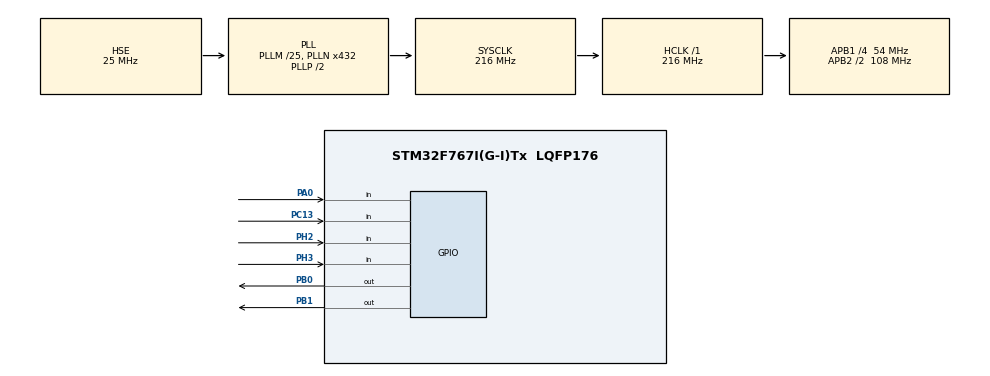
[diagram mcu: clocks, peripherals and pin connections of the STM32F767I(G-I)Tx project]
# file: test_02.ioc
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CORTEX_M7.default_mode_Activation=1
Mcu.Family=STM32F7
Mcu.Name=STM32F767I(G-I)Tx
Mcu.Package=LQFP176
NVIC.PriorityGroup=NVIC_PRIORITYGROUP_4
PA0/WKUP.GPIO_PuPd=GPIO_PULLDOWN
PA0/WKUP.Signal=GPIO_Input
PB0.GPIO_PuPd=GPIO_PULLUP
PB0.GPIO_Speed=GPIO_SPEED_FREQ_HIGH
PB0.PinState=GPIO_PIN_SET
PB0.Signal=GPIO_Output
PB1.GPIO_ModeDefaultOutputPP=GPIO_MODE_OUTPUT_PP
PB1.GPIO_PuPd=GPIO_PULLUP
PB1.GPIO_Speed=GPIO_SPEED_FREQ_HIGH
PB1.PinState=GPIO_PIN_SET
PB1.Signal=GPIO_Output
PC13.GPIO_PuPd=GPIO_PULLUP
PC13.Signal=GPIO_Input
PH0/OSC_IN.Mode=HSE-External-Oscillator
PH0/OSC_IN.Signal=RCC_OSC_IN
PH1/OSC_OUT.Mode=HSE-External-Oscillator
PH1/OSC_OUT.Signal=RCC_OSC_OUT
PH2.GPIO_PuPd=GPIO_PULLUP
PH2.Signal=GPIO_Input
PH3.GPIO_PuPd=GPIO_PULLUP
PH3.Signal=GPIO_Input
ProjectManager.HeapSize=0x200
ProjectManager.StackSize=0x400
ProjectManager.TargetToolchain=MDK-ARM V5.32
RCC.AHBFreq_Value=216000000
RCC.APB1CLKDivider=RCC_HCLK_DIV4
RCC.APB1Freq_Value=54000000
RCC.APB1TimFreq_Value=108000000
RCC.APB2CLKDivider=RCC_HCLK_DIV2
RCC.APB2Freq_Value=108000000
RCC.APB2TimFreq_Value=216000000
RCC.CortexFreq_Value=216000000
RCC.HCLKFreq_Value=216000000
RCC.HSE_VALUE=25000000
RCC.HSI_VALUE=16000000
RCC.LSE_VALUE=32768
RCC.PLLM=25
RCC.PLLN=432
RCC.PLLSourceVirtual=RCC_PLLSOURCE_HSE
RCC.SYSCLKFreq_VALUE=216000000
RCC.SYSCLKSource=RCC_SYSCLKSOURCE_PLLCLK
RCC.USBFreq_Value=216000000
RCC.VCOOutputFreq_Value=432000000
board=custom

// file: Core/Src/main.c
/* USER CODE BEGIN Header */
/**
  ******************************************************************************
  * @file           : main.c
  * @brief          : Main program body
  ******************************************************************************
  * @attention
  *
  * Copyright (c) 2022 STMicroelectronics.
  * All rights reserved.
  *
  * This software is licensed under terms that can be found in the LICENSE file
  * in the root directory of this software component.
  * If no LICENSE file comes with this software, it is provided AS-IS.
  *
  ******************************************************************************
  */
/* USER CODE END Header */
#include "main.h"
#include "gpio.h"

/* USER CODE BEGIN Includes */
#include "sys.h"
#include "delay.h"
#include "key.h"
#include "led.h"
/* USER CODE END Includes */

void SystemClock_Config(void);
static void MPU_Config(void);

int main(void)
{
  /* USER CODE BEGIN 1 */
	u8 key;
	u8 led0sta=1, led1sta=1; 		//LED0,LED1的当前状态
  /* USER CODE END 1 */

  /* MPU Configuration--------------------------------------------------------*/
  MPU_Config();

  /* MCU Configuration--------------------------------------------------------*/

  /* Reset of all peripherals, Initializes the Flash interface and the Systick. */
  HAL_Init();

  /* Configure the system clock */
  SystemClock_Config();

  /* Initialize all configured peripherals */
  MX_GPIO_Init();
  /* USER CODE BEGIN 2 */
	LED0(!led0sta);
  /* USER CODE END 2 */

  /* Infinite loop */
  /* USER CODE BEGIN WHILE */
  while (1)
  {
	  key=KEY_Scan(0);	//得到按键值
	  if(key)
		{
			switch(key)
			{
				case WKUP_PRES:	//控制LED0,LED1互斥点亮
					led1sta=!led1sta;
					led0sta=!led1sta;
					break;
				case KEY2_PRES:	//控制LED0翻转
					led0sta=!led0sta;
					break;
				case KEY1_PRES:	//控制LED1翻转
					led1sta=!led1sta;
					break;
				case KEY0_PRES:	//同时控制LED0,LED1翻转
					led0sta=!led0sta;
					led1sta=!led1sta;
					break;
			}
			LED0(led0sta);		//控制LED0状态
			LED1(led1sta);		//控制LED1状态
		}else delay_ms(10);
    /* USER CODE END WHILE */

  }
}

void SystemClock_Config(void)
{
  RCC_OscInitTypeDef RCC_OscInitStruct = {0};
  RCC_ClkInitTypeDef RCC_ClkInitStruct = {0};

  /** Configure the main internal regulator output voltage
  */
  __HAL_RCC_PWR_CLK_ENABLE();
  __HAL_PWR_VOLTAGESCALING_CONFIG(PWR_REGULATOR_VOLTAGE_SCALE1);

  /** Initializes the RCC Oscillators according to the specified parameters
  * in the RCC_OscInitTypeDef structure.
  */
  RCC_OscInitStruct.OscillatorType = RCC_OSCILLATORTYPE_HSE;
  RCC_OscInitStruct.HSEState = RCC_HSE_ON;
  RCC_OscInitStruct.PLL.PLLState = RCC_PLL_ON;
  RCC_OscInitStruct.PLL.PLLSource = RCC_PLLSOURCE_HSE;
  RCC_OscInitStruct.PLL.PLLM = 25;
  RCC_OscInitStruct.PLL.PLLN = 432;
  RCC_OscInitStruct.PLL.PLLP = RCC_PLLP_DIV2;
  RCC_OscInitStruct.PLL.PLLQ = 2;
  RCC_OscInitStruct.PLL.PLLR = 2;
  if (HAL_RCC_OscConfig(&RCC_OscInitStruct) != HAL_OK)
  {
    Error_Handler();
  }

  /** Activate the Over-Drive mode
  */
  if (HAL_PWREx_EnableOverDrive() != HAL_OK)
  {
    Error_Handler();
  }

  /** Initializes the CPU, AHB and APB buses clocks
  */
  RCC_ClkInitStruct.ClockType = RCC_CLOCKTYPE_HCLK|RCC_CLOCKTYPE_SYSCLK
                              |RCC_CLOCKTYPE_PCLK1|RCC_CLOCKTYPE_PCLK2;
  RCC_ClkInitStruct.SYSCLKSource = RCC_SYSCLKSOURCE_PLLCLK;
  RCC_ClkInitStruct.AHBCLKDivider = RCC_SYSCLK_DIV1;
  RCC_ClkInitStruct.APB1CLKDivider = RCC_HCLK_DIV4;
  RCC_ClkInitStruct.APB2CLKDivider = RCC_HCLK_DIV2;

  if (HAL_RCC_ClockConfig(&RCC_ClkInitStruct, FLASH_LATENCY_7) != HAL_OK)
  {
    Error_Handler();
  }
}

/* MPU Configuration */

void MPU_Config(void)
{
  MPU_Region_InitTypeDef MPU_InitStruct = {0};

  /* Disables the MPU */
  HAL_MPU_Disable();

  /** Initializes and configures the Region and the memory to be protected
  */
  MPU_InitStruct.Enable = MPU_REGION_ENABLE;
  MPU_InitStruct.Number = MPU_REGION_NUMBER0;
  MPU_InitStruct.BaseAddress = 0x0;
  MPU_InitStruct.Size = MPU_REGION_SIZE_4GB;
  MPU_InitStruct.SubRegionDisable = 0x87;
  MPU_InitStruct.TypeExtField = MPU_TEX_LEVEL0;
  MPU_InitStruct.AccessPermission = MPU_REGION_NO_ACCESS;
  MPU_InitStruct.DisableExec = MPU_INSTRUCTION_ACCESS_DISABLE;
  MPU_InitStruct.IsShareable = MPU_ACCESS_SHAREABLE;
  MPU_InitStruct.IsCacheable = MPU_ACCESS_NOT_CACHEABLE;
  MPU_InitStruct.IsBufferable = MPU_ACCESS_NOT_BUFFERABLE;

  HAL_MPU_ConfigRegion(&MPU_InitStruct);
  /* Enables the MPU */
  HAL_MPU_Enable(MPU_PRIVILEGED_DEFAULT);

}

void Error_Handler(void)
{
  __disable_irq();
  while (1)
  {
  }
}
